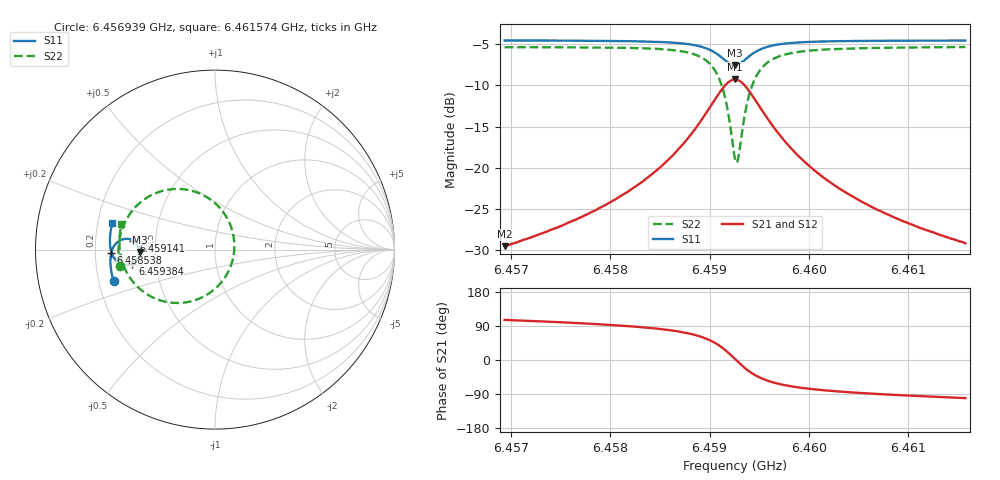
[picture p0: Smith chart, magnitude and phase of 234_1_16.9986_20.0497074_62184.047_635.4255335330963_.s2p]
#  HZ  S  RI  R  50.00
! Rohde & Schwarz Vector Network Analyzer
! Rohde-Schwarz,ZNB20-2Port,1311601062101988,3.16
! Created: UTC 3/20/2024, 11:02:35 PM
! freq[Hz]  re:S11  im:S11  re:S21  im:S21  re:S12  im:S12  re:S22  im:S22
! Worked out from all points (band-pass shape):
!   401 points, 6.456939 GHz to 6.461574 GHz, reference 50 ohm
!   highest |S21| = -9.29 dB at 6.459256 GHz (marker M1); lowest = -29.5 dB at 6.456939 GHz (marker M2)
!   |S21| within 3 dB of the highest: 6.459024 GHz to 6.459488 GHz (464.3 kHz wide, 0.00719 % of centre)
!   lowest |S11| = -7.6 dB at 6.459256 GHz (marker M3), VSWR 2.44, Z = 20.5 - j0.628 ohm
!   |S11| at or under -10 dB: nowhere
!   |S22| runs from -19.4 to -5.3 dB; largest |S21 - S12| = 0.013
!   S11 on the Smith chart (normalised r, x): 6.456939 GHz: 0.26, -0.14; 6.458538 GHz: 0.27, -0.01; 6.459141 GHz: 0.37, +0.05; 6.459384 GHz: 0.37, -0.07; 6.461574 GHz: 0.26, +0.12
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6.4569386e9  -0.5653 -0.1759  -0.00912 0.0322  -0.00749 0.0321  -0.5308 -0.0919
6.4577151e9  -0.58 -0.1083  -0.00594 0.05  -0.0035 0.0495  -0.5375 -0.00149
6.4581786e9  -0.5833 -0.0618  0.00061 0.0717  0.00407 0.0703  -0.5288 0.0728
6.4584915e9  -0.5796 -0.0241  0.0135 0.0983  0.0174 0.0956  -0.5054 0.1442
6.4585379e9  -0.5782 -0.0178  0.0169 0.1038  0.0209 0.1009  -0.499 0.1575
6.4587465e9  -0.5662 0.0141  0.0428 0.1355  0.0468 0.1307  -0.4508 0.2292
6.4588972e9  -0.545 0.0403  0.0852 0.1659  0.0885 0.1594  -0.3724 0.2937
6.4590478e9  -0.4989 0.0601  0.1769 0.1849  0.1778 0.1777  -0.2051 0.3381
6.4591405e9  -0.4546 0.0499  0.2663 0.1539  0.2668 0.1482  -0.0392 0.2883
6.4592101e9  -0.4257 0.018  0.3267 0.0825  0.3288 0.0772  0.0759 0.1597
6.4592564e9  -0.419 -0.0126  0.3429 0.0151  0.3467 0.00824  0.1078 0.0337
6.459268e9  -0.4194 -0.0207  0.3428 -0.00268  0.3467 -0.0101  0.1075 0.000342
6.4592912e9  -0.4229 -0.0361  0.3371 -0.037  0.3411 -0.046  0.0965 -0.065
6.4593375e9  -0.4384 -0.0619  0.3089 -0.0965  0.3112 -0.1081  0.0397 -0.177
6.4593839e9  -0.4603 -0.0781  0.2673 -0.1371  0.2666 -0.1502  -0.0445 -0.2512
6.4594766e9  -0.5033 -0.0847  0.1833 -0.1682  0.1775 -0.1796  -0.2114 -0.2975
6.4596273e9  -0.5469 -0.0644  0.0963 -0.1549  0.0881 -0.1611  -0.3778 -0.2493
6.4597895e9  -0.5682 -0.0368  0.0517 -0.1275  0.0443 -0.1304  -0.4579 -0.1783
6.4600329e9  -0.5812 -0.00123  0.0226 -0.0965  0.0169 -0.097  -0.5062 -0.0964
6.460369e9  -0.5856 0.0385  0.00705 -0.0706  0.00282 -0.0702  -0.5277 -0.0198
6.4608094e9  -0.5837 0.0827  -0.0012 -0.0515  -0.00395 -0.0507  -0.5326 0.0505
6.4615743e9  -0.5717 0.1502  -0.00641 -0.0342  -0.00803 -0.0335  -0.5216 0.1408
